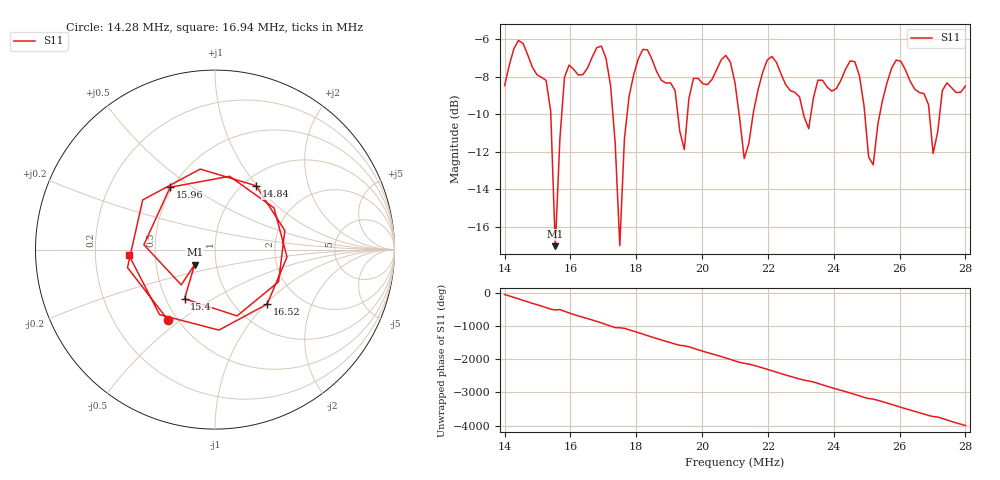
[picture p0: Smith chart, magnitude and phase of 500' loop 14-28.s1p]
# HZ S RI R 50
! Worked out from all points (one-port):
!   101 points, 14 MHz to 28 MHz, reference 50 ohm
!   lowest |S11| = -17.0 dB at 15.54 MHz (marker M1), VSWR 1.33, Z = 39.3 - j6.68 ohm
!   |S11| at or under -10 dB: 17.29 MHz to 17.72 MHz (432.5 kHz wide, 2.47 % of centre); 21.13 MHz to 21.55 MHz (424.7 kHz wide, 1.99 % of centre); 24.94 MHz to 25.4 MHz (456.2 kHz wide, 1.81 % of centre)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
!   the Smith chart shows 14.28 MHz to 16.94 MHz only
!   S11 on the Smith chart (normalised r, x): 14.28 MHz: 0.45, -0.45; 14.84 MHz: 1.14, +0.99; 15.4 MHz: 0.62, -0.38; 15.96 MHz: 0.49, +0.41; 16.52 MHz: 1.38, -1.02; 16.94 MHz: 0.35, -0.03
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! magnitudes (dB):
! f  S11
! 14 MHz  -8.5
! 14.28 MHz  -6.5
! 14.84 MHz  -7.5
! 15.4 MHz  -9.8
! 15.54 MHz  -17.0
! 15.82 MHz  -8.0
! 15.96 MHz  -7.4
! 16.52 MHz  -7.5
! 16.94 MHz  -6.4
! 17.22 MHz  -8.5
! 17.5 MHz  -17.0
! 17.78 MHz  -9.1
! 18.2 MHz  -6.5
! 19.32 MHz  -10.9
! 19.46 MHz  -11.9
! 19.74 MHz  -8.1
! 21 MHz  -8.3
! 21.28 MHz  -12.4
! 21.98 MHz  -7.1
! 22.82 MHz  -8.8
! 23.24 MHz  -10.8
! 24.5 MHz  -7.2
! 25.2 MHz  -12.7
! 25.76 MHz  -7.5
! 26.32 MHz  -8.2
! 27.02 MHz  -12.1
! 27.3 MHz  -8.7
! 28 MHz  -8.5
